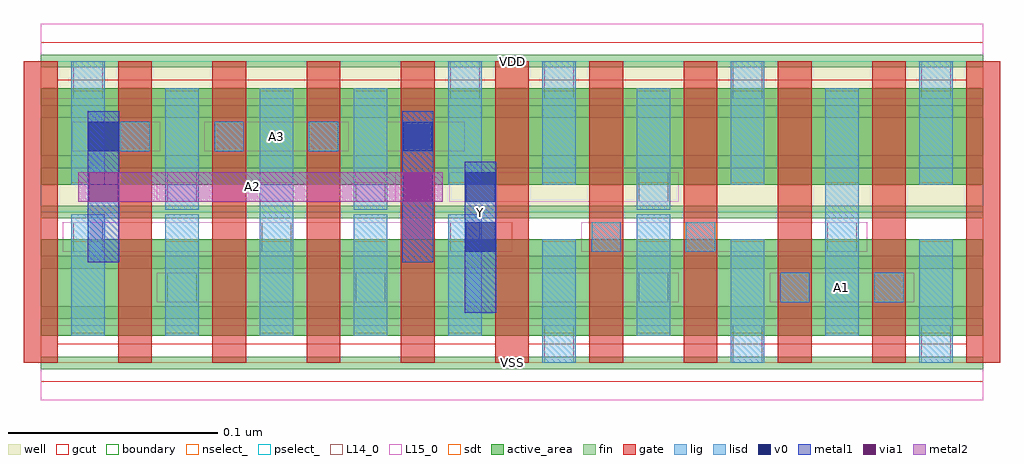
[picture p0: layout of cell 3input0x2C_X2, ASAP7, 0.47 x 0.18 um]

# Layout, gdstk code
import gdstk
lib = gdstk.Library(unit=1e-6, precision=2.5e-10)
def R(c, l, rs):  # rectangles x0, y0, x1, y1
    for r in rs: c.add(gdstk.rectangle(r[:2], r[2:], *l))
def A(c, l, x, y, w, h, nx, ny, dx, dy):  # array of equal rectangles
    R(c, l, [(x+i*dx, y+j*dy, x+i*dx+w, y+j*dy+h) for i in range(nx) for j in range(ny)])
def P(c, l, *ps):  # polygons
    for p in ps: c.add(gdstk.Polygon(p, *l))
well = (1, 0)
fin = (2, 0)
gate = (7, 0)
gcut = (10, 0)
active_area = (11, 0)
nselect_ = (12, 0)
pselect_ = (13, 0)
L14_0 = (14, 0)
L15_0 = (15, 0)
lig = (16, 0)
lisd = (17, 0)
v0 = (18, 0)
metal1 = (19, 0)
metal2 = (20, 0)
via1 = (21, 0)
sdt = (88, 0)
boundary = (100, 0)

c_3input0x2c_x2 = lib.new_cell('3input0x2C_X2')
R(c_3input0x2c_x2, well, [(0,0.072,0.45,0.144)])
A(c_3input0x2c_x2, fin, 0, -0.003, 0.45, 0.006, 1, 7, 0, 0.024)
A(c_3input0x2c_x2, gate, -0.008, 0, 0.016, 0.144, 11, 1, 0.045, 0)
P(c_3input0x2c_x2, gcut, [(0,-0.009),(0,0),(-0.008,0),(-0.008,0.135),(0.008,0.135),(0.008,0.009),(0.217,0.009),(0.217,0.135),(0.233,0.135),(0.233,0.009),(0.442,0.009),(0.442,0.135),(-0.008,0.135),(-0.008,0.144),(0,0.144),(0,0.153),(0.45,0.153),(0.45,0.144),(0.458,0.144),(0.458,0),(0.45,0),(0.45,-0.009)])
R(c_3input0x2c_x2, active_area, [(0,0.013,0.45,0.059), (0,0.085,0.45,0.131)])
R(c_3input0x2c_x2, nselect_, [(0,0,0.45,0.072)])
R(c_3input0x2c_x2, pselect_, [(0,0.072,0.45,0.144)])
A(c_3input0x2c_x2, L14_0, 0.2405, 0, 0.014, 0.018, 3, 2, 0.09, 0.126)
A(c_3input0x2c_x2, L14_0, 0.0155, 0.053, 0.014, 0.014, 3, 1, 0.09, 0)
A(c_3input0x2c_x2, L14_0, 0.038, 0.101, 0.014, 0.014, 4, 1, 0.045, 0)
R(c_3input0x2c_x2, L14_0, [(0.0605,0.029,0.0745,0.043), (0.1505,0.029,0.1645,0.043), (0.2855,0.029,0.2995,0.043), (0.353,0.029,0.367,0.043), (0.398,0.029,0.412,0.043), (0.263,0.053,0.277,0.067), (0.308,0.053,0.322,0.067), (0.3755,0.053,0.3895,0.067), (0.0605,0.077,0.0745,0.091), (0.1505,0.077,0.1645,0.091), (0.2855,0.077,0.2995,0.091), (0.0155,0.126,0.0295,0.144), (0.1955,0.126,0.2095,0.144)])
R(c_3input0x2c_x2, L15_0, [(0,-0.018,0.45,0.018), (0.0555,0.029,0.3045,0.043), (0.348,0.029,0.417,0.043), (0.0105,0.053,0.225,0.067), (0.258,0.053,0.3945,0.067), (0.0555,0.077,0.1695,0.091), (0.195,0.077,0.3045,0.091), (0.015,0.101,0.057,0.115), (0.078,0.101,0.147,0.115), (0.165,0.101,0.2025,0.115), (0,0.126,0.45,0.162)])
A(c_3input0x2c_x2, lig, 0.038, 0.101, 0.014, 0.014, 4, 1, 0.045, 0)
R(c_3input0x2c_x2, lig, [(0.353,0.029,0.367,0.043), (0.398,0.029,0.412,0.043), (0.263,0.053,0.277,0.067), (0.308,0.053,0.322,0.067)])
A(c_3input0x2c_x2, lisd, 0.2395, 0, 0.016, 0.059, 3, 2, 0.09, 0.085)
R(c_3input0x2c_x2, lisd, [(0.0145,0.013,0.0305,0.071), (0.0595,0.013,0.0755,0.071), (0.1045,0.013,0.1205,0.131), (0.1495,0.013,0.1655,0.071), (0.1945,0.013,0.2105,0.071), (0.2845,0.013,0.3005,0.071), (0.3745,0.013,0.3905,0.131), (0.0595,0.073,0.0755,0.131), (0.1495,0.073,0.1655,0.131), (0.2845,0.073,0.3005,0.131), (0.0145,0.085,0.0305,0.144), (0.1945,0.085,0.2105,0.144)])
R(c_3input0x2c_x2, v0, [(0.203,0.053,0.217,0.067), (0.203,0.077,0.217,0.091), (0.023,0.101,0.037,0.115), (0.173,0.101,0.187,0.115)])
R(c_3input0x2c_x2, metal1, [(0.2025,0.024,0.2175,0.096), (0.0225,0.048,0.0375,0.12), (0.1725,0.048,0.1875,0.12)])
R(c_3input0x2c_x2, metal2, [(0.018,0.077,0.192,0.091)])
R(c_3input0x2c_x2, via1, [(0.023,0.077,0.037,0.091), (0.173,0.077,0.187,0.091)])
A(c_3input0x2c_x2, sdt, 0.0145, 0.014, 0.016, 0.044, 10, 2, 0.045, 0.072)
R(c_3input0x2c_x2, boundary, [(0,0,0.45,0.144)])
c_3input0x2c_x2.add(gdstk.Label('A3', (0.1125,0.108), layer=15, texttype=251))
c_3input0x2c_x2.add(gdstk.Label('VSS', (0.225,0), layer=15, texttype=251))
c_3input0x2c_x2.add(gdstk.Label('VDD', (0.225,0.144), layer=15, texttype=251))
c_3input0x2c_x2.add(gdstk.Label('VSS', (0.225,0), layer=15, texttype=251))
c_3input0x2c_x2.add(gdstk.Label('VDD', (0.225,0.144), layer=15, texttype=251))
c_3input0x2c_x2.add(gdstk.Label('A1', (0.3825,0.036), layer=15, texttype=251))
c_3input0x2c_x2.add(gdstk.Label('VSS', (0.225,0), layer=15, texttype=251))
c_3input0x2c_x2.add(gdstk.Label('VDD', (0.225,0.144), layer=15, texttype=251))
c_3input0x2c_x2.add(gdstk.Label('VSS', (0.225,0), layer=15, texttype=251))
c_3input0x2c_x2.add(gdstk.Label('VDD', (0.225,0.144), layer=15, texttype=251))
c_3input0x2c_x2.add(gdstk.Label('VSS', (0.225,0), layer=3, texttype=251))
c_3input0x2c_x2.add(gdstk.Label('VSS', (0.225,0), layer=3, texttype=251))
c_3input0x2c_x2.add(gdstk.Label('VSS', (0.225,0), layer=3, texttype=251))
c_3input0x2c_x2.add(gdstk.Label('VSS', (0.225,0), layer=3, texttype=251))
c_3input0x2c_x2.add(gdstk.Label('VDD', (0.225,0.144), layer=1, texttype=251))
c_3input0x2c_x2.add(gdstk.Label('VDD', (0.225,0.144), layer=1, texttype=251))
c_3input0x2c_x2.add(gdstk.Label('VDD', (0.225,0.144), layer=1, texttype=251))
c_3input0x2c_x2.add(gdstk.Label('VDD', (0.225,0.144), layer=1, texttype=251))
c_3input0x2c_x2.add(gdstk.Label('A2', (0.1013,0.084), layer=20, texttype=251))
c_3input0x2c_x2.add(gdstk.Label('Y', (0.21,0.072), layer=19, texttype=251))

lib.write_gds('3input0x2C_X2.gds')
